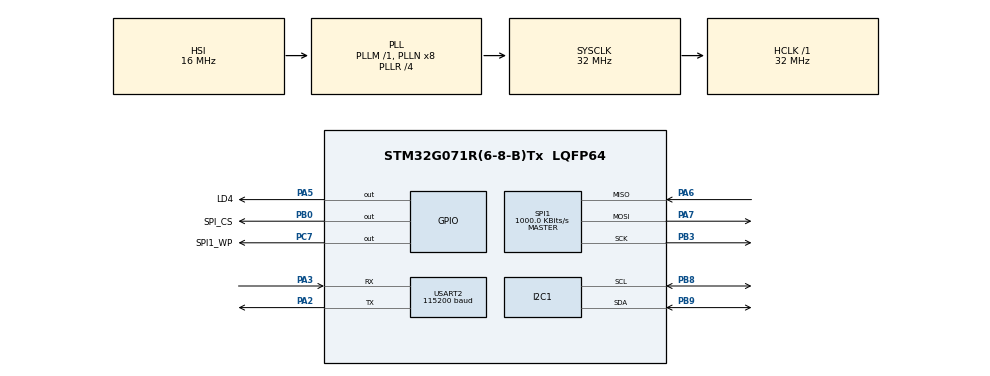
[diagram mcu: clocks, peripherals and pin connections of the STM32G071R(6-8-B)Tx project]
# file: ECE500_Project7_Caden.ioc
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I2C1.AddressingMode=I2C_ADDRESSINGMODE_7BIT
I2C1.Timing=0x00B07CB4
Mcu.Family=STM32G0
Mcu.Name=STM32G071R(6-8-B)Tx
Mcu.Package=LQFP64
PA2.Mode=Asynchronous
PA2.Signal=USART2_TX
PA3.Mode=Asynchronous
PA3.Signal=USART2_RX
PA5.GPIO_Label=LD4
PA5.Signal=GPIO_Output
PA6.Mode=Full_Duplex_Master
PA6.Signal=SPI1_MISO
PA7.Mode=Full_Duplex_Master
PA7.Signal=SPI1_MOSI
PB0.GPIO_Label=SPI_CS
PB0.PinState=GPIO_PIN_SET
PB0.Signal=GPIO_Output
PB3.Mode=Full_Duplex_Master
PB3.Signal=SPI1_SCK
PB8.Mode=I2C
PB8.Signal=I2C1_SCL
PB9.Mode=I2C
PB9.Signal=I2C1_SDA
PC7.GPIO_Label=SPI1_WP
PC7.PinState=GPIO_PIN_SET
PC7.Signal=GPIO_Output
ProjectManager.HeapSize=0x400
ProjectManager.StackSize=0x400
ProjectManager.TargetToolchain=STM32CubeIDE
RCC.ADCFreq_Value=32000000
RCC.AHBFreq_Value=32000000
RCC.CortexFreq_Value=32000000
RCC.EXTERNAL_CLOCK_VALUE=48000
RCC.HCLKFreq_Value=32000000
RCC.HSE_VALUE=8000000
RCC.HSI_VALUE=16000000
RCC.LSE_VALUE=32768
RCC.PLLR=RCC_PLLR_DIV4
RCC.SYSCLKFreq_VALUE=32000000
RCC.SYSCLKSource=RCC_SYSCLKSOURCE_PLLCLK
RCC.VCOOutputFreq_Value=128000000
SPI1.BaudRatePrescaler=SPI_BAUDRATEPRESCALER_32
SPI1.CalculateBaudRate=1000.0 KBits/s
SPI1.DataSize=SPI_DATASIZE_8BIT
SPI1.Direction=SPI_DIRECTION_2LINES
SPI1.Mode=SPI_MODE_MASTER
SPI1.VirtualType=VM_MASTER
USART2.BaudRate=115200
USART2.Mode=MODE_TX_RX
USART2.Parity=PARITY_NONE
USART2.StopBits=STOPBITS_1
USART2.VirtualMode-Asynchronous=VM_ASYNC
USART2.WordLength=WORDLENGTH_8B
board=NUCLEO-G071RB

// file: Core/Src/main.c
/* USER CODE BEGIN Header */

/**

  ******************************************************************************

  * @file           : main.c

  * @brief          : Main program body

  ******************************************************************************

  * @attention

  *

  * Copyright (c) 2026 STMicroelectronics.

  * All rights reserved.

  *

  * This software is licensed under terms that can be found in the LICENSE file

  * in the root directory of this software component.

  * If no LICENSE file comes with this software, it is provided AS-IS.

  *

  ******************************************************************************

  */

/* USER CODE END Header */

#include "main.h"

/* USER CODE BEGIN Includes */

#include "i2c.h"

#include "tmp102.h"

#include "fram.h"

#include <stdio.h>

#include <string.h>

#include <ctype.h>

#include <stdint.h>

/* USER CODE END Includes */

I2C_HandleTypeDef hi2c1;

SPI_HandleTypeDef hspi1;

UART_HandleTypeDef huart2;

/* USER CODE BEGIN PV */

#define LOGGER_META_START_ADDR  0x0000U
#define LOGGER_DATA_START_ADDR  0x0004U
#define LOGGER_RECORD_SIZE      2U
#define LOGGER_UART_TIMEOUT_MS  5U

/* Metadata stores first and last record start addresses (inclusive).
 * Two zero pointers indicate an empty FRAM log. */
static uint16_t logger_start_address = 0U;
static uint16_t logger_last_address = 0U;
static uint8_t logger_is_running = 0U;
static uint8_t logger_metadata_valid = 1U;
static uint32_t logger_last_sample_tick = 0U;

static char logger_command_buffer[32];

static uint8_t logger_command_length = 0U;

/* USER CODE END PV */

void SystemClock_Config(void);

static void MX_GPIO_Init(void);

static void MX_USART2_UART_Init(void);

static void MX_I2C1_Init(void);

static void MX_SPI1_Init(void);

/* USER CODE BEGIN PFP */

static void Logger_LoadMetadata(void);

static HAL_StatusTypeDef Logger_SaveMetadata(void);

static void Logger_ProcessCommand(char *command);

static void Logger_TakeSample(void);

static void Logger_PrintHelp(void);

static void Logger_PrintStatus(void);

static void Logger_DumpCurrentSession(void);
static HAL_StatusTypeDef Logger_ClearMemory(void);
static void Logger_PrintRawTemperature(uint16_t raw_temperature);

/* USER CODE END PFP */

int main(void)

{

  /* MCU Configuration--------------------------------------------------------*/

  /* Reset of all peripherals, Initializes the Flash interface and the Systick. */

  HAL_Init();

  /* Configure the system clock */

  SystemClock_Config();

  /* Initialize all configured peripherals */

  MX_GPIO_Init();

  MX_USART2_UART_Init();

  MX_I2C1_Init();

  MX_SPI1_Init();

  /* USER CODE BEGIN 2 */

  printf("\r\n========================================\r\n");

  printf(" ECE 500 - PROJECT 7\r\n");

  printf(" TMP102 / SPI FRAM Temperature Logger\r\n");

  printf("========================================\r\n");

  printf("System clock: %lu Hz\r\n", (unsigned long)HAL_RCC_GetHCLKFreq());

  printf("I2C1: PB8=SCL, PB9=SDA | SPI1: PB3/PA6/PA7\r\n");

  printf("UART2: 115200 baud, 8-N-1\r\n\r\n");

  if (tmp102_initialize() != HAL_OK)

  {

    printf("ERROR: TMP102 did not respond on I2C1. Check U7/address/pins.\r\n");

  }

  else

  {

    printf("TMP102 initialized successfully.\r\n");

  }

  if (FRAM_Init() != HAL_OK)

  {

    printf("ERROR: FRAM initialization failed.\r\n");

  }

  else

  {

    uint8_t fram_status = 0U;

    if (FRAM_ReadStatus(&fram_status) != HAL_OK)

      printf("ERROR: Could not communicate with SPI FRAM.\r\n");

    else

      printf("SPI FRAM status register: 0x%02X\r\n", fram_status);

  }

  Logger_LoadMetadata();

  Logger_PrintHelp();

  Logger_PrintStatus();

  /* USER CODE END 2 */

  /* Infinite loop */

  while (1)
  {

    /* USER CODE BEGIN 3 */

    uint8_t received_char;

    if (HAL_UART_Receive(&huart2, &received_char, 1U, LOGGER_UART_TIMEOUT_MS) == HAL_OK)

    {

      if (received_char == '\r' || received_char == '\n')

      {

        if (logger_command_length > 0U)

        {

          logger_command_buffer[logger_command_length] = '\0';

          printf("\r\n");

          Logger_ProcessCommand(logger_command_buffer);

          logger_command_length = 0U;

        }

      }

      else if (received_char == 8U || received_char == 127U)

      {

        if (logger_command_length > 0U)

        {

          logger_command_length--;

          printf("\b \b");

        }

      }

      else if (isprint((int)received_char) && logger_command_length < (sizeof(logger_command_buffer) - 1U))

      {

        logger_command_buffer[logger_command_length++] = (char)received_char;

        printf("%c", received_char);

      }

    }

    if (logger_is_running && ((HAL_GetTick() - logger_last_sample_tick) >= 1000U))

    {

      logger_last_sample_tick = HAL_GetTick();

      Logger_TakeSample();

    }

    /* USER CODE END 3 */

  }

}

void SystemClock_Config(void)

{

  RCC_OscInitTypeDef RCC_OscInitStruct = {0};

  RCC_ClkInitTypeDef RCC_ClkInitStruct = {0};

  /** Configure the main internal regulator output voltage

  */

  HAL_PWREx_ControlVoltageScaling(PWR_REGULATOR_VOLTAGE_SCALE1);

  /** Initializes the RCC Oscillators according to the specified parameters

  * in the RCC_OscInitTypeDef structure.

  */

  RCC_OscInitStruct.OscillatorType = RCC_OSCILLATORTYPE_HSI;

  RCC_OscInitStruct.HSIState = RCC_HSI_ON;

  RCC_OscInitStruct.HSIDiv = RCC_HSI_DIV1;

  RCC_OscInitStruct.HSICalibrationValue = RCC_HSICALIBRATION_DEFAULT;

  RCC_OscInitStruct.PLL.PLLState = RCC_PLL_ON;

  RCC_OscInitStruct.PLL.PLLSource = RCC_PLLSOURCE_HSI;

  RCC_OscInitStruct.PLL.PLLM = RCC_PLLM_DIV1;

  RCC_OscInitStruct.PLL.PLLN = 8;

  RCC_OscInitStruct.PLL.PLLP = RCC_PLLP_DIV2;

  RCC_OscInitStruct.PLL.PLLQ = RCC_PLLQ_DIV2;

  RCC_OscInitStruct.PLL.PLLR = RCC_PLLR_DIV4;

  if (HAL_RCC_OscConfig(&RCC_OscInitStruct) != HAL_OK)

  {

    Error_Handler();

  }

  /** Initializes the CPU, AHB and APB buses clocks

  */

  RCC_ClkInitStruct.ClockType = RCC_CLOCKTYPE_HCLK|RCC_CLOCKTYPE_SYSCLK

                              |RCC_CLOCKTYPE_PCLK1;

  RCC_ClkInitStruct.SYSCLKSource = RCC_SYSCLKSOURCE_PLLCLK;

  RCC_ClkInitStruct.AHBCLKDivider = RCC_SYSCLK_DIV1;

  RCC_ClkInitStruct.APB1CLKDivider = RCC_HCLK_DIV1;

  if (HAL_RCC_ClockConfig(&RCC_ClkInitStruct, FLASH_LATENCY_1) != HAL_OK)

  {

    Error_Handler();

  }

}

static void MX_I2C1_Init(void)

{

  hi2c1.Instance = I2C1;

  hi2c1.Init.Timing = 0x00B07CB4;

  hi2c1.Init.OwnAddress1 = 0;

  hi2c1.Init.AddressingMode = I2C_ADDRESSINGMODE_7BIT;

  hi2c1.Init.DualAddressMode = I2C_DUALADDRESS_DISABLE;

  hi2c1.Init.OwnAddress2 = 0;

  hi2c1.Init.OwnAddress2Masks = I2C_OA2_NOMASK;

  hi2c1.Init.GeneralCallMode = I2C_GENERALCALL_DISABLE;

  hi2c1.Init.NoStretchMode = I2C_NOSTRETCH_DISABLE;

  if (HAL_I2C_Init(&hi2c1) != HAL_OK) Error_Handler();

  if (HAL_I2CEx_ConfigAnalogFilter(&hi2c1, I2C_ANALOGFILTER_ENABLE) != HAL_OK) Error_Handler();

  if (HAL_I2CEx_ConfigDigitalFilter(&hi2c1, 0) != HAL_OK) Error_Handler();

}

static void MX_SPI1_Init(void)

{

  /* SPI1 parameter configuration*/

  hspi1.Instance = SPI1;

  hspi1.Init.Mode = SPI_MODE_MASTER;

  hspi1.Init.Direction = SPI_DIRECTION_2LINES;

  hspi1.Init.DataSize = SPI_DATASIZE_8BIT;

  hspi1.Init.CLKPolarity = SPI_POLARITY_LOW;

  hspi1.Init.CLKPhase = SPI_PHASE_1EDGE;

  hspi1.Init.NSS = SPI_NSS_SOFT;

  hspi1.Init.BaudRatePrescaler = SPI_BAUDRATEPRESCALER_32;

  hspi1.Init.FirstBit = SPI_FIRSTBIT_MSB;

  hspi1.Init.TIMode = SPI_TIMODE_DISABLE;

  hspi1.Init.CRCCalculation = SPI_CRCCALCULATION_DISABLE;

  hspi1.Init.CRCPolynomial = 7;

  hspi1.Init.CRCLength = SPI_CRC_LENGTH_DATASIZE;

  hspi1.Init.NSSPMode = SPI_NSS_PULSE_DISABLE;

  if (HAL_SPI_Init(&hspi1) != HAL_OK)

  {

    Error_Handler();

  }

}

static void MX_USART2_UART_Init(void)

{

  huart2.Instance = USART2;

  huart2.Init.BaudRate = 115200;

  huart2.Init.WordLength = UART_WORDLENGTH_8B;

  huart2.Init.StopBits = UART_STOPBITS_1;

  huart2.Init.Parity = UART_PARITY_NONE;

  huart2.Init.Mode = UART_MODE_TX_RX;

  huart2.Init.HwFlowCtl = UART_HWCONTROL_NONE;

  huart2.Init.OverSampling = UART_OVERSAMPLING_16;

  huart2.Init.OneBitSampling = UART_ONE_BIT_SAMPLE_DISABLE;

  huart2.Init.ClockPrescaler = UART_PRESCALER_DIV1;

  huart2.AdvancedInit.AdvFeatureInit = UART_ADVFEATURE_NO_INIT;

  if (HAL_UART_Init(&huart2) != HAL_OK)

  {

    Error_Handler();

  }

  if (HAL_UARTEx_SetTxFifoThreshold(&huart2, UART_TXFIFO_THRESHOLD_1_8) != HAL_OK)

  {

    Error_Handler();

  }

  if (HAL_UARTEx_SetRxFifoThreshold(&huart2, UART_RXFIFO_THRESHOLD_1_8) != HAL_OK)

  {

    Error_Handler();

  }

  if (HAL_UARTEx_DisableFifoMode(&huart2) != HAL_OK)

  {

    Error_Handler();

  }

}

static void MX_GPIO_Init(void)

{

  GPIO_InitTypeDef GPIO_InitStruct = {0};

  /* GPIO Ports Clock Enable */

  __HAL_RCC_GPIOA_CLK_ENABLE();

  __HAL_RCC_GPIOB_CLK_ENABLE();

  __HAL_RCC_GPIOC_CLK_ENABLE();

  /*Configure GPIO pin Output Level */

  HAL_GPIO_WritePin(LD4_GPIO_Port, LD4_Pin, GPIO_PIN_RESET);

  /*Configure GPIO pin Output Level */

  HAL_GPIO_WritePin(SPI_CS_GPIO_Port, SPI_CS_Pin, GPIO_PIN_SET);

  /*Configure GPIO pin Output Level */

  HAL_GPIO_WritePin(SPI1_WP_GPIO_Port, SPI1_WP_Pin, GPIO_PIN_SET);

  /*Configure GPIO pin : LD4_Pin */

  GPIO_InitStruct.Pin = LD4_Pin;

  GPIO_InitStruct.Mode = GPIO_MODE_OUTPUT_PP;

  GPIO_InitStruct.Pull = GPIO_NOPULL;

  GPIO_InitStruct.Speed = GPIO_SPEED_FREQ_LOW;

  HAL_GPIO_Init(LD4_GPIO_Port, &GPIO_InitStruct);

  /*Configure GPIO pin : SPI_CS_Pin */

  GPIO_InitStruct.Pin = SPI_CS_Pin;

  GPIO_InitStruct.Mode = GPIO_MODE_OUTPUT_PP;

  GPIO_InitStruct.Pull = GPIO_NOPULL;

  GPIO_InitStruct.Speed = GPIO_SPEED_FREQ_LOW;

  HAL_GPIO_Init(SPI_CS_GPIO_Port, &GPIO_InitStruct);

  /*Configure GPIO pin : SPI1_WP_Pin */

  GPIO_InitStruct.Pin = SPI1_WP_Pin;

  GPIO_InitStruct.Mode = GPIO_MODE_OUTPUT_PP;

  GPIO_InitStruct.Pull = GPIO_NOPULL;

  GPIO_InitStruct.Speed = GPIO_SPEED_FREQ_LOW;

  HAL_GPIO_Init(SPI1_WP_GPIO_Port, &GPIO_InitStruct);

}

/* USER CODE BEGIN 4 */

static HAL_StatusTypeDef Logger_SaveMetadata(void)
{
  uint8_t metadata[4];
  metadata[0] = (uint8_t)(logger_start_address >> 8);
  metadata[1] = (uint8_t)(logger_start_address & 0xFFU);
  metadata[2] = (uint8_t)(logger_last_address >> 8);
  metadata[3] = (uint8_t)(logger_last_address & 0xFFU);
  return FRAM_Write(LOGGER_META_START_ADDR, metadata, sizeof(metadata));
}

static void Logger_LoadMetadata(void)
{
  uint8_t metadata[4] = {0U, 0U, 0U, 0U};
  if (FRAM_Read(LOGGER_META_START_ADDR, metadata, sizeof(metadata)) != HAL_OK)
  {
    printf("WARNING: FRAM metadata read failed. Logging is unavailable until communication is restored.\r\n");
    logger_start_address = 0U;
    logger_last_address = 0U;
    logger_metadata_valid = 0U;
    return;
  }

  uint16_t saved_start = (uint16_t)(((uint16_t)metadata[0] << 8) | metadata[1]);
  uint16_t saved_last = (uint16_t)(((uint16_t)metadata[2] << 8) | metadata[3]);

  if ((saved_start == 0U) && (saved_last == 0U))
  {
    logger_start_address = 0U;
    logger_last_address = 0U;
    logger_metadata_valid = 1U;
    printf("FRAM is empty. Ready for a new logging session.\r\n");
  }
  else if ((saved_start < LOGGER_DATA_START_ADDR) ||
           (saved_last < saved_start) ||
           (saved_last > (FRAM_SIZE - LOGGER_RECORD_SIZE)) ||
           (((saved_start - LOGGER_DATA_START_ADDR) % LOGGER_RECORD_SIZE) != 0U) ||
           (((saved_last - LOGGER_DATA_START_ADDR) % LOGGER_RECORD_SIZE) != 0U))
  {
    /* Do not silently overwrite data if the saved pointers are corrupt. */
    logger_start_address = 0U;
    logger_last_address = 0U;
    logger_metadata_valid = 0U;
    printf("ERROR: FRAM metadata is invalid. Use CLEAR before logging again.\r\n");
  }
  else
  {
    logger_start_address = saved_start;
    logger_last_address = saved_last;
    logger_metadata_valid = 1U;
    printf("FRAM metadata restored. Logging will append after 0x%04X.\r\n", saved_last);
  }
}

static void Logger_PrintHelp(void)
{
  printf("Commands (type command then press Enter):\r\n");
  printf("  START  - start/restart logging at one sample per second\r\n");
  printf("  STOP   - stop automatic sampling\r\n");
  printf("  TEMP   - display saved temperatures, count, and address range\r\n");
  printf("  DUMP   - alias for TEMP\r\n");
  printf("  NOW    - take and display one immediate reading (not logged)\r\n");
  printf("  STATUS - display logger state and FRAM pointers\r\n");
  printf("  CLEAR  - erase all FRAM contents and reset pointers\r\n");
  printf("  HELP   - display this command list\r\n\r\n");
}

static void Logger_PrintStatus(void)
{
  uint32_t count = 0U;
  if (logger_start_address != 0U)
    count = ((uint32_t)(logger_last_address - logger_start_address) / LOGGER_RECORD_SIZE) + 1U;

  printf("Logger: %s\r\n", logger_is_running ? "RUNNING" : "STOPPED");
  if (count == 0U)
    printf("Stored samples: 0 | First address: none | Last address: none\r\n\r\n");
  else
    printf("Stored samples: %lu | First address: 0x%04X | Last address: 0x%04X\r\n\r\n",
           (unsigned long)count, logger_start_address, logger_last_address);
}

static void Logger_PrintRawTemperature(uint16_t raw_temperature)
{
  uint16_t raw12 = (uint16_t)(raw_temperature >> 4);
  int32_t signed_raw;
  int32_t scaled_1e4;
  int32_t magnitude;

  if ((raw12 & 0x0800U) != 0U)
    signed_raw = (int32_t)raw12 - 4096;
  else
    signed_raw = (int32_t)raw12;

  /* TMP102 resolution is 0.0625 C = 625 units of 0.0001 C. */
  scaled_1e4 = signed_raw * 625;
  magnitude = (scaled_1e4 < 0) ? -scaled_1e4 : scaled_1e4;
  printf("%s%ld.%04ld", (scaled_1e4 < 0) ? "-" : "",
         (long)(magnitude / 10000), (long)(magnitude % 10000));
}

static void Logger_TakeSample(void)
{
  uint16_t raw_temperature = 0U;
  uint8_t record[LOGGER_RECORD_SIZE];
  HAL_StatusTypeDef status = tmp102_read_temperature_raw(&raw_temperature);
  if (status != HAL_OK)
  {
    printf("TMP102 read error (%d). Sample was not logged.\r\n", (int)status);
    logger_last_sample_tick = HAL_GetTick();
    return;
  }

  uint16_t address;
  if (logger_start_address == 0U)
    address = LOGGER_DATA_START_ADDR;
  else if ((uint32_t)logger_last_address + LOGGER_RECORD_SIZE < FRAM_SIZE)
    address = (uint16_t)(logger_last_address + LOGGER_RECORD_SIZE);
  else
  {
    logger_is_running = 0U;
    printf("FRAM is full. Logging stopped safely. Use CLEAR to erase it.\r\n");
    return;
  }

  /* Store the exact two-byte TMP102 temperature register value, big-endian. */
  record[0] = (uint8_t)(raw_temperature >> 8);
  record[1] = (uint8_t)(raw_temperature & 0xFFU);
  status = FRAM_Write(address, record, sizeof(record));
  if (status != HAL_OK)
  {
    logger_is_running = 0U;
    printf("ERROR: FRAM write failed (%d). Logging stopped.\r\n", (int)status);
    return;
  }

  if (logger_start_address == 0U)
    logger_start_address = address;
  logger_last_address = address;
  status = Logger_SaveMetadata();
  if (status != HAL_OK)
  {
    /* Stop rather than risk overwriting the unindexed record on a later run. */
    logger_is_running = 0U;
    printf("ERROR: FRAM data was written, but pointer update failed. Logging stopped.\r\n");
    return;
  }

  logger_last_sample_tick = HAL_GetTick();
  HAL_GPIO_TogglePin(LD4_GPIO_Port, LD4_Pin);
  printf("Logged temperature: ");
  Logger_PrintRawTemperature(raw_temperature);
  printf(" C at FRAM address 0x%04X\r\n", address);
}

static void Logger_DumpCurrentSession(void)
{
  uint16_t address;
  uint8_t record[LOGGER_RECORD_SIZE];
  uint32_t count = 0U;

  printf("\r\n--- Saved TMP102 temperature readings ---\r\n");
  if (logger_start_address == 0U)
  {
    printf("No temperature readings are stored.\r\n\r\n");
    return;
  }

  printf("First data address: 0x%04X\r\n", logger_start_address);
  printf("Last data address:  0x%04X\r\n", logger_last_address);
  printf("No. of data points: %lu\r\n\r\n",
         (unsigned long)(((uint32_t)(logger_last_address - logger_start_address) / LOGGER_RECORD_SIZE) + 1U));

  address = logger_start_address;
  while (address <= logger_last_address)
  {
    uint16_t raw_temperature;
    if (FRAM_Read(address, record, sizeof(record)) != HAL_OK)
    {
      printf("FRAM read error at 0x%04X.\r\n", address);
      break;
    }
    raw_temperature = (uint16_t)(((uint16_t)record[0] << 8) | record[1]);
    printf("%4lu) Address 0x%04X: ", (unsigned long)(++count), address);
    Logger_PrintRawTemperature(raw_temperature);
    printf(" C (raw 0x%04X)\r\n", raw_temperature);
    if (address == logger_last_address)
      break;
    address = (uint16_t)(address + LOGGER_RECORD_SIZE);
  }
  printf("--- End of saved readings ---\r\n\r\n");
}

static HAL_StatusTypeDef Logger_ClearMemory(void)
{
  uint8_t zeros[64] = {0U};
  uint16_t address = 0U;
  while (address < FRAM_SIZE)
  {
    uint16_t remaining = (uint16_t)(FRAM_SIZE - address);
    uint16_t count = (remaining > sizeof(zeros)) ? (uint16_t)sizeof(zeros) : remaining;
    HAL_StatusTypeDef status = FRAM_Write(address, zeros, count);
    if (status != HAL_OK)
      return status;
    address = (uint16_t)(address + count);
  }
  return HAL_OK;
}

static void Logger_ProcessCommand(char *command)
{
  for (char *p = command; *p != '\0'; ++p)
    *p = (char)toupper((unsigned char)*p);
  while (*command == ' ' || *command == '\t')
    command++;
  size_t length = strlen(command);
  while (length > 0U && (command[length - 1U] == ' ' || command[length - 1U] == '\t'))
    command[--length] = '\0';

  if (length == 0U)
    return;

  if (strcmp(command, "START") == 0)
  {
    if (!logger_metadata_valid)
    {
      printf("FRAM metadata is invalid or unreadable. Run CLEAR before START.\r\n\r\n");
      return;
    }
    if (logger_is_running)
    {
      printf("Logger is already running.\r\n\r\n");
      return;
    }
    if ((logger_start_address != 0U) &&
        ((uint32_t)logger_last_address + LOGGER_RECORD_SIZE >= FRAM_SIZE))
    {
      printf("FRAM is full. Run CLEAR before starting another log.\r\n\r\n");
      return;
    }
    /* Existing pointers are retained, so START resumes by appending after reset. */
    logger_last_sample_tick = HAL_GetTick();
    logger_is_running = 1U;
    printf("Logging started. First sample will be taken in one second.\r\n\r\n");
  }
  else if (strcmp(command, "STOP") == 0)
  {
    logger_is_running = 0U;
    printf("Logging stopped. Saved FRAM data and pointers were retained.\r\n\r\n");
  }
  else if ((strcmp(command, "TEMP") == 0) || (strcmp(command, "DUMP") == 0))
  {
    Logger_DumpCurrentSession();
  }
  else if (strcmp(command, "NOW") == 0)
  {
    uint16_t raw_temperature = 0U;
    HAL_StatusTypeDef status = tmp102_read_temperature_raw(&raw_temperature);
    if (status == HAL_OK)
    {
      printf("Current temperature: ");
      Logger_PrintRawTemperature(raw_temperature);
      printf(" C (not logged)\r\n\r\n");
    }
    else
      printf("TMP102 read failed (%d).\r\n\r\n", (int)status);
  }
  else if (strcmp(command, "STATUS") == 0)
  {
    Logger_PrintStatus();
  }
  else if (strcmp(command, "CLEAR") == 0)
  {
    logger_is_running = 0U;
    printf("Clearing all 8192 FRAM bytes...\r\n");
    if (Logger_ClearMemory() == HAL_OK)
    {
      logger_start_address = 0U;
      logger_last_address = 0U;
      logger_metadata_valid = 1U;
      printf("FRAM erased. Metadata pointers reset.\r\n\r\n");
    }
    else
    {
      printf("ERROR: FRAM erase failed. Check SPI/FRAM wiring.\r\n\r\n");
    }
  }
  else if ((strcmp(command, "HELP") == 0) || (strcmp(command, "?") == 0))
  {
    Logger_PrintHelp();
  }
  else
  {
    printf("Unknown command: %s. Type HELP for commands.\r\n\r\n", command);
  }
}

/* USER CODE END 4 */

void Error_Handler(void)

{

  __disable_irq();
  while (1)
  {
  }

}
